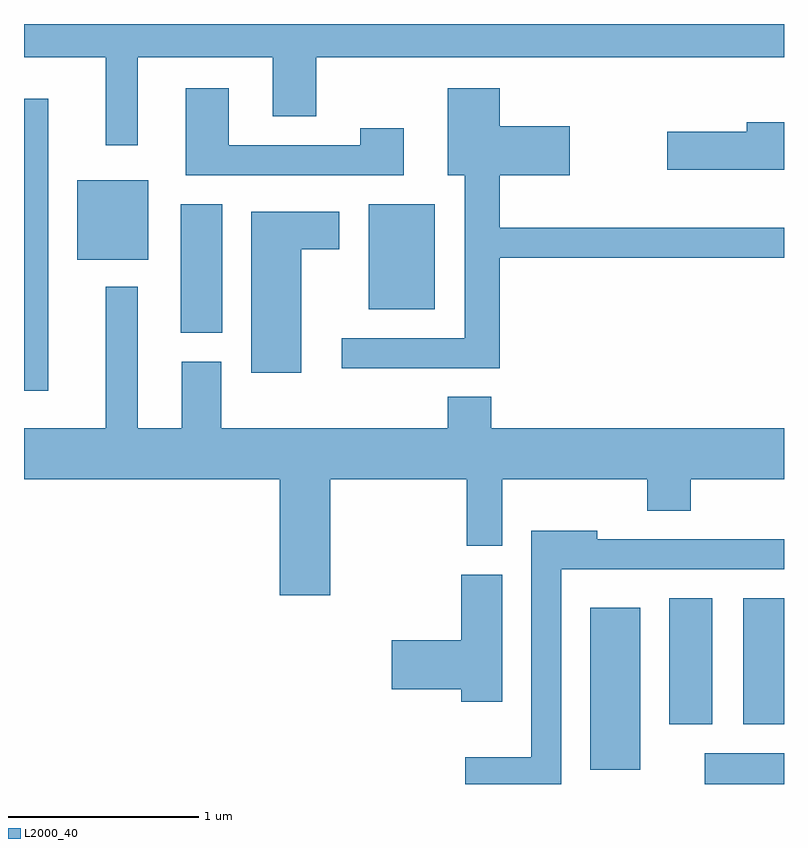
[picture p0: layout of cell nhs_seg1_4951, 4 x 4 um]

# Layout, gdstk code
import gdstk
lib = gdstk.Library(unit=1e-6, precision=1e-09)
def R(c, l, rs):  # rectangles x0, y0, x1, y1
    for r in rs: c.add(gdstk.rectangle(r[:2], r[2:], *l))
def P(c, l, *ps):  # polygons
    for p in ps: c.add(gdstk.Polygon(p, *l))
L2000_40 = (2000, 40)

nhs_seg1_4951 = lib.new_cell('nhs_seg1_4951')
R(nhs_seg1_4951, L2000_40, [(337.193,935.712,337.611,935.874), (336.591,935.786,336.854,936.639), (337.006,936.026,337.234,936.689), (337.396,936.026,337.611,936.689), (333.611,937.781,333.739,939.318), (334.436,938.086,334.654,938.764), (335.426,938.211,335.774,938.764), (333.891,938.471,334.264,938.889)])
P(nhs_seg1_4951, L2000_40, [(334.209,939.536),(334.921,939.536),(334.921,939.226),(335.149,939.226),(335.149,939.536),(337.611,939.536),(337.611,939.712),(333.611,939.712),(333.611,939.536),(334.041,939.536),(334.041,939.073),(334.209,939.073)],
  [(335.609,939.164),(335.381,939.164),(335.381,939.074),(334.689,939.074),(334.689,939.374),(334.461,939.374),(334.461,938.916),(335.609,938.916)],
  [(336.114,938.481),(337.611,938.481),(337.611,938.639),(336.114,938.639),(336.114,938.916),(336.484,938.916),(336.484,939.174),(336.114,939.174),(336.114,939.374),(335.841,939.374),(335.841,938.916),(335.931,938.916),(335.931,938.059),(335.283,938.059),(335.283,937.901),(336.114,937.901)],
  [(337.611,939.194),(337.416,939.194),(337.416,939.144),(336.996,939.144),(336.996,938.946),(337.611,938.946)],
  [(335.069,938.526),(335.269,938.526),(335.269,938.724),(334.806,938.724),(334.806,937.876),(335.069,937.876)],
  [(334.041,938.328),(334.041,937.584),(333.611,937.584),(333.611,937.316),(334.956,937.316),(334.956,936.706),(335.224,936.706),(335.224,937.316),(335.941,937.316),(335.941,936.966),(336.129,936.966),(336.129,937.316),(336.891,937.316),(336.891,937.151),(337.119,937.151),(337.119,937.316),(337.611,937.316),(337.611,937.584),(336.069,937.584),(336.069,937.749),(335.841,937.749),(335.841,937.584),(334.649,937.584),(334.649,937.934),(334.441,937.934),(334.441,937.584),(334.209,937.584),(334.209,938.328)],
  [(336.439,936.841),(337.611,936.841),(337.611,936.999),(336.629,936.999),(336.629,937.044),(336.281,937.044),(336.281,935.854),(335.933,935.854),(335.933,935.712),(336.439,935.712)],
  [(336.129,936.814),(335.911,936.814),(335.911,936.469),(335.546,936.469),(335.546,936.211),(335.911,936.211),(335.911,936.146),(336.129,936.146)])

lib.write_gds('nhs_seg1_4951.gds')
